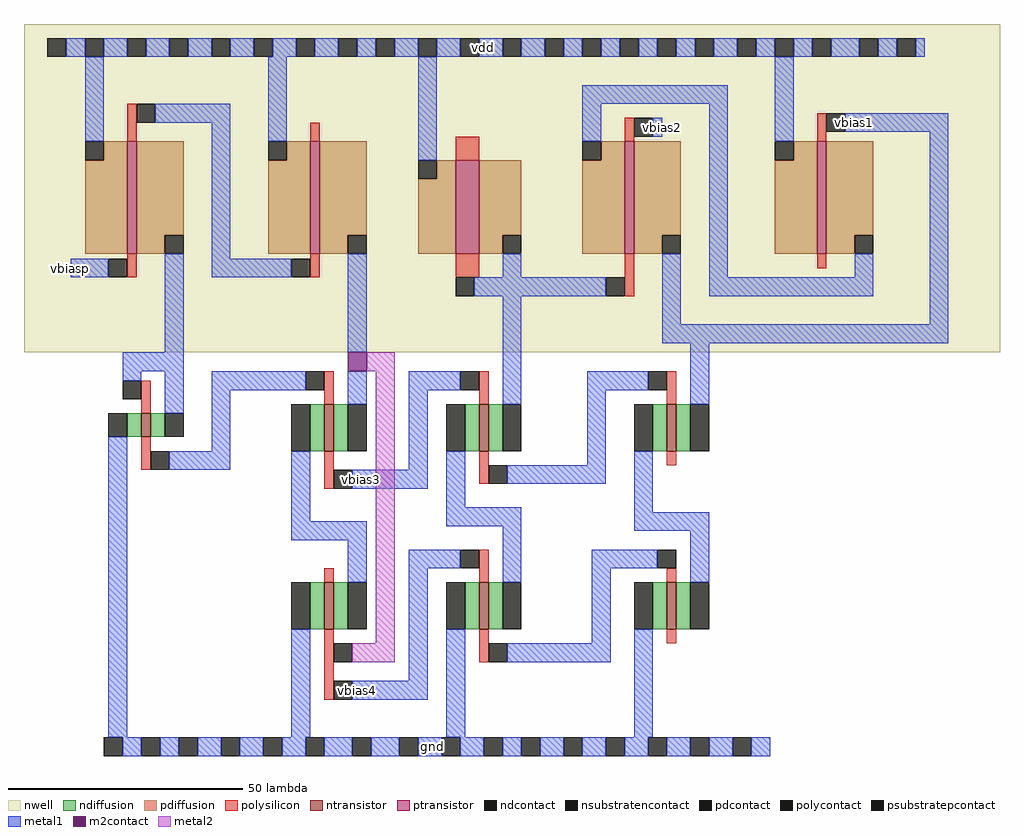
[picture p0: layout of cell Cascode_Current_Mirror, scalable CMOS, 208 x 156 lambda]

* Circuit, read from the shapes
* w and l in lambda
.subckt Cascode_Current_Mirror gnd vbias1 vbias2 vbias3 vbias4 vbiasp vdd
M1 vbias3 vbias3 gnd gnd nfet w=5 l=2
M2 n1 vbias4 gnd gnd nfet w=10 l=2
M3 n2 vbias3 n1 gnd nfet w=10 l=2
M4 n3 vbias4 gnd gnd nfet w=10 l=2
M5 vbias2 vbias3 n3 gnd nfet w=10 l=2
M6 n4 vbias4 gnd gnd nfet w=10 l=2
M7 vbias1 vbias3 n4 gnd nfet w=10 l=2
M8 vbias3 vbiasp vdd vdd pfet w=24 l=2
M9 n2 vbiasp vdd vdd pfet w=24 l=2
M10 vbias2 vbias2 vdd vdd pfet w=20 l=5
M11 vbias1 vbias2 n5 vdd pfet w=24 l=2
M12 n5 vbias1 vdd vdd pfet w=24 l=2
.ends

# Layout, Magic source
magic
tech scmos
<< nwell >>
rect -17 -32 191 38
<< polysilicon >>
rect 5 13 7 21
rect 44 13 46 17
rect 75 9 80 14
rect 111 13 113 18
rect 152 13 154 19
rect 5 -16 7 -11
rect 44 -16 46 -11
rect 75 -16 80 -11
rect 111 -20 113 -11
rect 152 -14 154 -11
rect 8 -45 10 -38
rect 47 -43 49 -36
rect 80 -43 82 -36
rect 120 -43 122 -36
rect 8 -57 10 -50
rect 47 -61 49 -53
rect 80 -60 82 -53
rect 120 -56 122 -53
rect 47 -81 49 -78
rect 80 -81 82 -74
rect 120 -81 122 -78
rect 47 -106 49 -91
rect 80 -98 82 -91
rect 120 -94 122 -91
<< ndiffusion >>
rect 5 -50 8 -45
rect 10 -50 13 -45
rect 44 -53 47 -43
rect 49 -53 52 -43
rect 77 -53 80 -43
rect 82 -53 85 -43
rect 117 -53 120 -43
rect 122 -53 125 -43
rect 44 -91 47 -81
rect 49 -91 52 -81
rect 77 -91 80 -81
rect 82 -91 85 -81
rect 117 -91 120 -81
rect 122 -91 125 -81
<< pdiffusion >>
rect 0 9 5 13
rect -4 -11 5 9
rect 7 -7 17 13
rect 7 -11 13 -7
rect 39 9 44 13
rect 35 -11 44 9
rect 46 -7 56 13
rect 106 9 111 13
rect 46 -11 52 -7
rect 71 5 75 9
rect 67 -11 75 5
rect 80 -7 89 9
rect 80 -11 85 -7
rect 102 -11 111 9
rect 113 -7 123 13
rect 113 -11 119 -7
rect 147 9 152 13
rect 143 -11 152 9
rect 154 -7 164 13
rect 154 -11 160 -7
<< metal1 >>
rect -8 31 -4 35
rect 0 31 5 35
rect 9 31 14 35
rect 18 31 23 35
rect 27 31 32 35
rect 36 31 41 35
rect 45 31 50 35
rect 54 31 58 35
rect 62 31 67 35
rect 71 31 76 35
rect 80 31 85 35
rect 89 31 94 35
rect 98 31 102 35
rect 106 31 110 35
rect 114 31 118 35
rect 122 31 126 35
rect 130 31 135 35
rect 139 31 143 35
rect 147 31 151 35
rect 155 31 161 35
rect 165 31 169 35
rect 173 31 175 35
rect -4 13 0 31
rect 11 17 27 21
rect -7 -16 1 -12
rect 13 -32 17 -11
rect 23 -12 27 17
rect 35 13 39 31
rect 67 9 71 31
rect 102 21 133 25
rect 102 13 106 21
rect 117 14 119 18
rect 23 -16 40 -12
rect 4 -36 17 -32
rect 52 -32 56 -11
rect 85 -16 89 -11
rect 79 -20 107 -16
rect 4 -38 8 -36
rect 13 -45 17 -36
rect 23 -40 43 -36
rect 1 -114 5 -50
rect 23 -53 27 -40
rect 52 -43 56 -36
rect 14 -57 27 -53
rect 65 -40 76 -36
rect 40 -68 44 -53
rect 65 -57 69 -40
rect 85 -43 89 -20
rect 119 -26 123 -11
rect 129 -16 133 21
rect 143 13 147 31
rect 158 15 180 19
rect 160 -16 164 -11
rect 129 -20 164 -16
rect 176 -26 180 15
rect 119 -30 180 -26
rect 53 -61 69 -57
rect 103 -40 116 -36
rect 73 -65 77 -53
rect 103 -56 107 -40
rect 125 -43 129 -30
rect 86 -60 107 -56
rect 40 -72 56 -68
rect 73 -69 89 -65
rect 52 -81 56 -72
rect 65 -78 76 -74
rect 40 -114 44 -91
rect 65 -102 69 -78
rect 85 -81 89 -69
rect 113 -66 117 -53
rect 113 -70 129 -66
rect 53 -106 69 -102
rect 104 -78 118 -74
rect 73 -114 77 -91
rect 104 -94 108 -78
rect 125 -81 129 -70
rect 86 -98 108 -94
rect 113 -114 117 -91
rect 4 -118 8 -114
rect 12 -118 16 -114
rect 20 -118 25 -114
rect 29 -118 34 -114
rect 38 -118 43 -114
rect 47 -118 53 -114
rect 57 -118 63 -114
rect 67 -118 72 -114
rect 76 -118 81 -114
rect 85 -118 89 -114
rect 93 -118 98 -114
rect 102 -118 107 -114
rect 111 -118 116 -114
rect 120 -118 125 -114
rect 129 -118 134 -114
rect 138 -118 142 -114
<< metal2 >>
rect 56 -36 62 -32
rect 58 -94 62 -36
rect 53 -98 62 -94
<< ntransistor >>
rect 8 -50 10 -45
rect 47 -53 49 -43
rect 80 -53 82 -43
rect 120 -53 122 -43
rect 47 -91 49 -81
rect 80 -91 82 -81
rect 120 -91 122 -81
<< ptransistor >>
rect 5 -11 7 13
rect 44 -11 46 13
rect 75 -11 80 9
rect 111 -11 113 13
rect 152 -11 154 13
<< polycontact >>
rect 7 17 11 21
rect 113 14 117 18
rect 154 15 158 19
rect 1 -16 5 -12
rect 40 -16 44 -12
rect 75 -20 79 -16
rect 107 -20 111 -16
rect 4 -42 8 -38
rect 43 -40 47 -36
rect 76 -40 80 -36
rect 116 -40 120 -36
rect 10 -57 14 -53
rect 49 -61 53 -57
rect 82 -60 86 -56
rect 76 -78 80 -74
rect 118 -78 122 -74
rect 49 -98 53 -94
rect 82 -98 86 -94
rect 49 -106 53 -102
<< ndcontact >>
rect 1 -50 5 -45
rect 13 -50 17 -45
rect 40 -53 44 -43
rect 52 -53 56 -43
rect 73 -53 77 -43
rect 85 -53 89 -43
rect 113 -53 117 -43
rect 125 -53 129 -43
rect 40 -91 44 -81
rect 52 -91 56 -81
rect 73 -91 77 -81
rect 85 -91 89 -81
rect 113 -91 117 -81
rect 125 -91 129 -81
<< pdcontact >>
rect -4 9 0 13
rect 13 -11 17 -7
rect 35 9 39 13
rect 102 9 106 13
rect 52 -11 56 -7
rect 67 5 71 9
rect 85 -11 89 -7
rect 119 -11 123 -7
rect 143 9 147 13
rect 160 -11 164 -7
<< m2contact >>
rect 52 -36 56 -32
<< psubstratepcontact >>
rect 0 -118 4 -114
rect 8 -118 12 -114
rect 16 -118 20 -114
rect 25 -118 29 -114
rect 34 -118 38 -114
rect 43 -118 47 -114
rect 53 -118 57 -114
rect 63 -118 67 -114
rect 72 -118 76 -114
rect 81 -118 85 -114
rect 89 -118 93 -114
rect 98 -118 102 -114
rect 107 -118 111 -114
rect 116 -118 120 -114
rect 125 -118 129 -114
rect 134 -118 138 -114
<< nsubstratencontact >>
rect -12 31 -8 35
rect -4 31 0 35
rect 5 31 9 35
rect 14 31 18 35
rect 23 31 27 35
rect 32 31 36 35
rect 41 31 45 35
rect 50 31 54 35
rect 58 31 62 35
rect 67 31 71 35
rect 76 31 80 35
rect 85 31 89 35
rect 94 31 98 35
rect 102 31 106 35
rect 110 31 114 35
rect 118 31 122 35
rect 126 31 130 35
rect 135 31 139 35
rect 143 31 147 35
rect 151 31 155 35
rect 161 31 165 35
rect 169 31 173 35
<< labels >>
rlabel metal1 70 -116 70 -116 1 gnd
rlabel metal1 -7 -16 -7 -12 1 vbiasp
rlabel metal1 119 14 119 18 1 vbias2
rlabel metal1 54 -106 54 -102 1 vbias4
rlabel metal1 160 15 160 19 1 vbias1
rlabel metal1 55 -61 55 -57 1 vbias3
rlabel metal1 81 33 81 33 5 vdd
<< end >>
